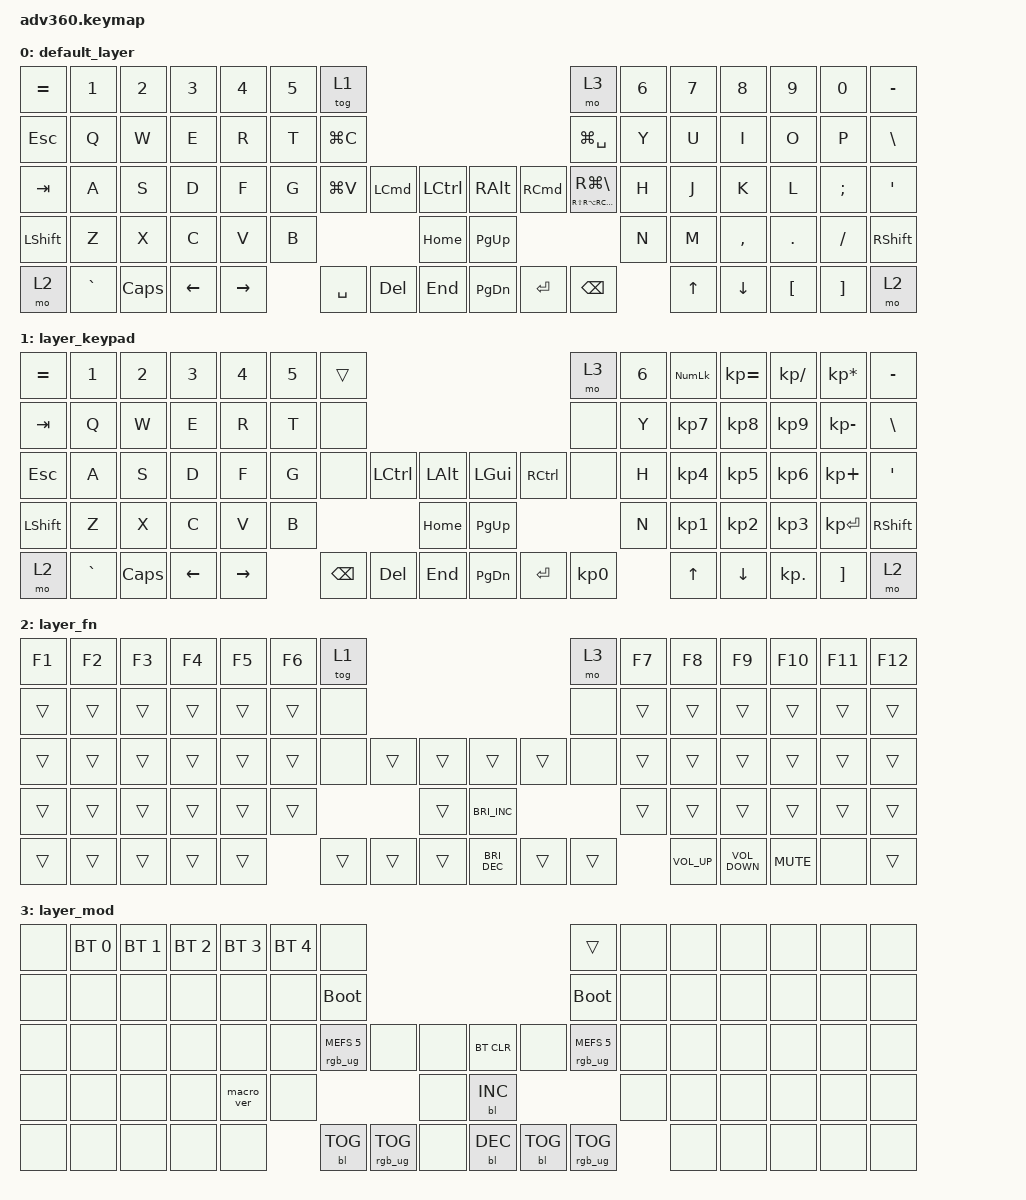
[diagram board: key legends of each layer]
/*
 * Copyright (c) 2020 The ZMK Contributors
 *
 * SPDX-License-Identifier: MIT
 */
/* THIS FILE WAS GENERATED!
 *
 * This file was generated automatically. You may or may not want to
 * edit it directly.
 */

#include <behaviors.dtsi>
#include <dt-bindings/zmk/backlight.h>
#include <dt-bindings/zmk/bt.h>
#include <dt-bindings/zmk/keys.h>
#include <dt-bindings/zmk/rgb.h>

/ {
    behaviors {
        #include "macros.dtsi"
    #include "version.dtsi"

        hm: homerow_mods {
            compatible = "zmk,behavior-hold-tap";
            label = "HOMEROW_MODS";
            #binding-cells = <2>;
            tapping-term-ms = <200>;
            quick_tap_ms = <175>;
            flavor = "tap-preferred";
            bindings = <&kp>, <&kp>;
        };
    };

    keymap {
        compatible = "zmk,keymap";

        default_layer {
            bindings = <
&kp EQUAL   &kp N1     &kp N2    &kp N3          &kp N4           &kp N5  &tog 1                                                                               &mo 3                               &kp N6  &kp N7        &kp N8     &kp N9            &kp N0             &kp MINUS
&kp ESCAPE  &kp Q      &kp W     &kp E           &kp R            &kp T   &kp LG(C)                                                                            &kp LG(SPACE)                       &kp Y   &kp U         &kp I      &kp O             &kp P              &kp BSLH
&kp TAB     &kp A      &kp S     &kp D           &kp F            &kp G   &kp LG(V)  &kp LEFT_COMMAND  &kp LEFT_CONTROL      &kp RIGHT_ALT  &kp RIGHT_COMMAND  &mt RS(RA(RC(RGUI))) RG(BACKSLASH)  &kp H   &kp J         &kp K      &kp L             &kp SEMICOLON      &kp SQT
&kp LSHFT   &kp Z      &kp X     &kp C           &kp V            &kp B                                &kp HOME              &kp PG_UP                                                             &kp N   &kp M         &kp COMMA  &kp DOT           &kp SLASH          &kp RSHFT
&mo 2       &kp GRAVE  &kp CAPS  &kp LEFT_ARROW  &kp RIGHT_ARROW          &kp SPACE  &kp DELETE        &kp END               &kp PG_DN      &kp ENTER          &kp BSPC                                    &kp UP_ARROW  &kp DOWN   &kp LEFT_BRACKET  &kp RIGHT_BRACKET  &mo 2
            >;
        };

        layer_keypad {
            bindings = <
&kp EQUAL  &kp N1     &kp N2    &kp N3    &kp N4     &kp N5  &trans                                                   &mo 3      &kp N6  &kp KP_NUM  &kp KP_EQUAL  &kp KP_DIVIDE  &kp KP_MULTIPLY  &kp MINUS
&kp TAB    &kp Q      &kp W     &kp E     &kp R      &kp T   &none                                                    &none      &kp Y   &kp KP_N7   &kp KP_N8     &kp KP_N9      &kp KP_MINUS     &kp BSLH
&kp ESC    &kp A      &kp S     &kp D     &kp F      &kp G   &none     &kp LCTRL  &kp LALT      &kp LGUI   &kp RCTRL  &none      &kp H   &kp KP_N4   &kp KP_N5     &kp KP_N6      &kp KP_PLUS      &kp SQT
&kp LSHFT  &kp Z      &kp X     &kp C     &kp V      &kp B                        &kp HOME      &kp PG_UP                        &kp N   &kp KP_N1   &kp KP_N2     &kp KP_N3      &kp KP_ENTER     &kp RSHFT
&mo 2      &kp GRAVE  &kp CAPS  &kp LEFT  &kp RIGHT          &kp BSPC  &kp DEL    &kp END       &kp PG_DN  &kp ENTER  &kp KP_N0          &kp UP      &kp DOWN      &kp KP_DOT     &kp RBKT         &mo 2
            >;
        };

        layer_fn {
            bindings = <
&kp F1  &kp F2  &kp F3  &kp F4  &kp F5  &kp F6  &tog 1                                             &mo 3   &kp F7  &kp F8           &kp F9             &kp F10     &kp F11  &kp F12
&trans  &trans  &trans  &trans  &trans  &trans  &none                                              &none   &trans  &trans           &trans             &trans      &trans   &trans
&trans  &trans  &trans  &trans  &trans  &trans  &none   &trans  &trans      &trans         &trans  &none   &trans  &trans           &trans             &trans      &trans   &trans
&trans  &trans  &trans  &trans  &trans  &trans                  &trans      &kp C_BRI_INC                  &trans  &trans           &trans             &trans      &trans   &trans
&trans  &trans  &trans  &trans  &trans          &trans  &trans  &trans      &kp C_BRI_DEC  &trans  &trans          &kp C_VOLUME_UP  &kp C_VOLUME_DOWN  &kp C_MUTE  &none    &trans
            >;
        };

        layer_mod {
            bindings = <
&none  &bt BT_SEL 0  &bt BT_SEL 1  &bt BT_SEL 2  &bt BT_SEL 3  &bt BT_SEL 4  &none                                                                       &trans                  &none  &none  &none  &none  &none  &none
&none  &none         &none         &none         &none         &none         &bootloader                                                                 &bootloader             &none  &none  &none  &none  &none  &none
&none  &none         &none         &none         &none         &none         &rgb_ug RGB_MEFS_CMD 5  &none            &none      &bt BT_CLR  &none       &rgb_ug RGB_MEFS_CMD 5  &none  &none  &none  &none  &none  &none
&none  &none         &none         &none         &macro_ver    &none                                                  &none      &bl BL_INC                                      &none  &none  &none  &none  &none  &none
&none  &none         &none         &none         &none                       &bl BL_TOG              &rgb_ug RGB_TOG  &none      &bl BL_DEC  &bl BL_TOG  &rgb_ug RGB_TOG                &none  &none  &none  &none  &none
            >;
        };
    };
};
